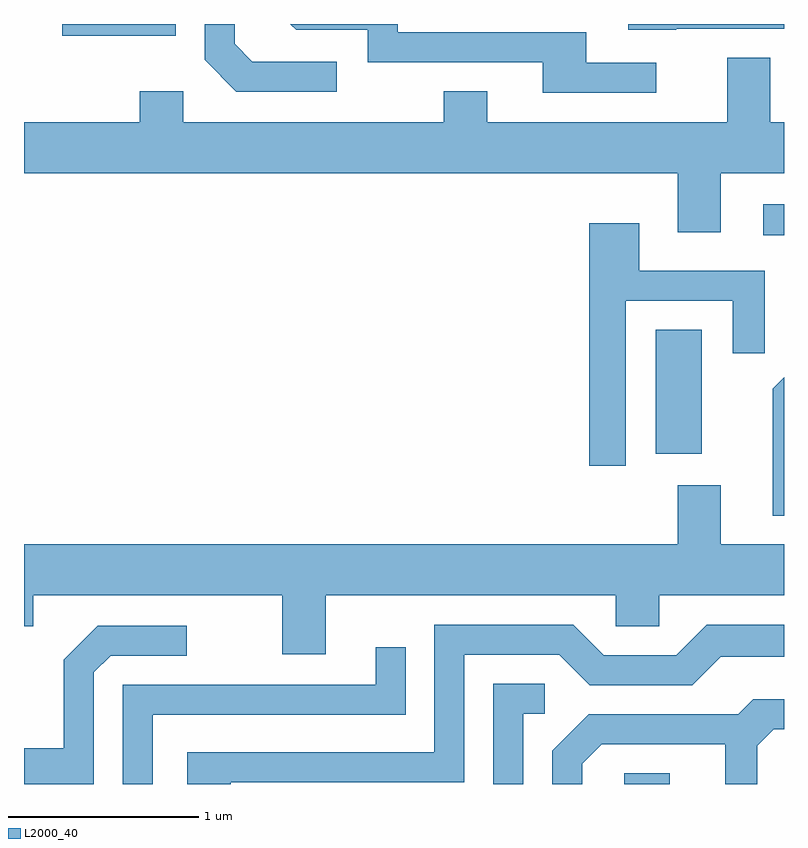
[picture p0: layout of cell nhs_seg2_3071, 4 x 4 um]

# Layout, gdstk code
import gdstk
lib = gdstk.Library(unit=1e-6, precision=1e-09)
def R(c, l, rs):  # rectangles x0, y0, x1, y1
    for r in rs: c.add(gdstk.rectangle(r[:2], r[2:], *l))
def P(c, l, *ps):  # polygons
    for p in ps: c.add(gdstk.Polygon(p, *l))
L2000_40 = (2000, 40)

nhs_seg2_3071 = lib.new_cell('nhs_seg2_3071')
R(nhs_seg2_3071, L2000_40, [(278.771,1011.802,279.009,1011.859), (278.936,1013.541,279.179,1014.194), (279.503,1014.691,279.611,1014.854), (275.811,1015.741,276.409,1015.802)])
P(nhs_seg2_3071, L2000_40, [(279.045,1015.776),(279.611,1015.776),(279.611,1015.802),(278.791,1015.802),(278.791,1015.771),(279.045,1015.771)],
  [(278.938,1015.599),(278.569,1015.599),(278.569,1015.759),(277.579,1015.759),(277.579,1015.802),(277.013,1015.802),(277.044,1015.771),(277.421,1015.771),(277.421,1015.601),(278.341,1015.601),(278.341,1015.441),(278.938,1015.441)],
  [(277.258,1015.604),(276.812,1015.604),(276.719,1015.697),(276.719,1015.802),(276.561,1015.802),(276.561,1015.614),(276.729,1015.446),(277.258,1015.446)],
  [(279.279,1015.016),(279.611,1015.016),(279.611,1015.284),(279.539,1015.284),(279.539,1015.624),(279.311,1015.624),(279.311,1015.284),(278.049,1015.284),(278.049,1015.449),(277.821,1015.449),(277.821,1015.284),(276.449,1015.284),(276.449,1015.449),(276.221,1015.449),(276.221,1015.284),(275.611,1015.284),(275.611,1015.016),(279.051,1015.016),(279.051,1014.706),(279.279,1014.706)],
  [(278.779,1014.346),(279.341,1014.346),(279.341,1014.068),(279.509,1014.068),(279.509,1014.504),(278.849,1014.504),(278.849,1014.754),(278.586,1014.754),(278.586,1013.476),(278.779,1013.476)],
  [(279.611,1013.942),(279.551,1013.882),(279.551,1013.213),(279.611,1013.213)],
  [(277.199,1012.796),(278.726,1012.796),(278.726,1012.631),(278.954,1012.631),(278.954,1012.796),(279.611,1012.796),(279.611,1013.064),(279.279,1013.064),(279.279,1013.374),(279.051,1013.374),(279.051,1013.064),(275.611,1013.064),(275.611,1012.631),(275.659,1012.631),(275.659,1012.796),(276.971,1012.796),(276.971,1012.486),(277.199,1012.486)],
  [(276.699,1011.811),(277.929,1011.811),(277.929,1012.481),(278.429,1012.481),(278.589,1012.321),(279.127,1012.321),(279.277,1012.471),(279.611,1012.471),(279.611,1012.639),(279.204,1012.639),(279.044,1012.479),(278.662,1012.479),(278.502,1012.639),(277.771,1012.639),(277.771,1011.969),(276.471,1011.969),(276.471,1011.802),(276.699,1011.802)],
  [(275.979,1012.389),(276.067,1012.476),(276.468,1012.476),(276.468,1012.634),(275.999,1012.634),(275.821,1012.457),(275.821,1011.989),(275.611,1011.989),(275.611,1011.802),(275.979,1011.802)],
  [(276.289,1012.166),(277.619,1012.166),(277.619,1012.523),(277.461,1012.523),(277.461,1012.324),(276.131,1012.324),(276.131,1011.802),(276.289,1011.802)],
  [(278.239,1012.171),(278.353,1012.171),(278.353,1012.329),(278.081,1012.329),(278.081,1011.802),(278.239,1011.802)],
  [(278.549,1011.909),(278.652,1012.011),(279.301,1012.011),(279.301,1011.802),(279.469,1011.802),(279.469,1012.004),(279.557,1012.091),(279.611,1012.091),(279.611,1012.249),(279.449,1012.249),(279.369,1012.169),(278.584,1012.169),(278.391,1011.977),(278.391,1011.802),(278.549,1011.802)])

lib.write_gds('nhs_seg2_3071.gds')
